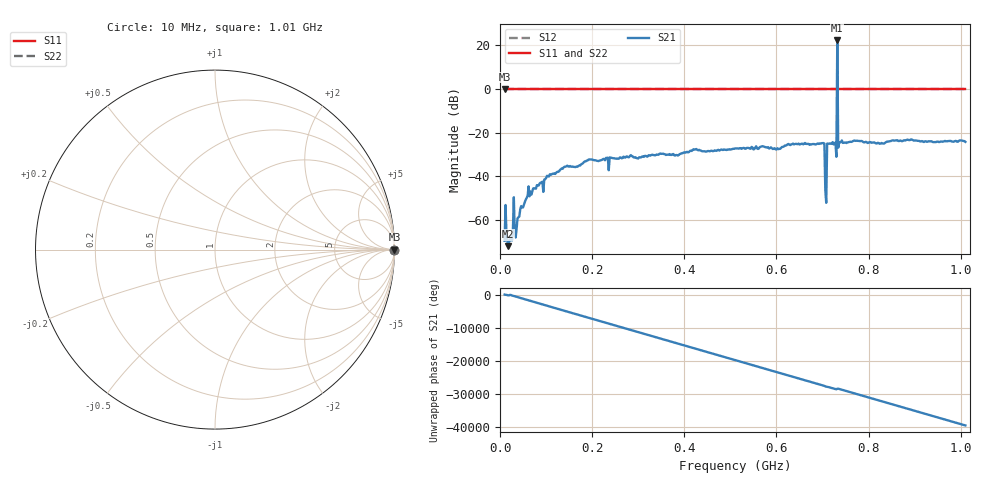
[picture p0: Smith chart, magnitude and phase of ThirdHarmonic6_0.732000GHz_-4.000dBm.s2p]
! 8/16/2025 12:28:51 AM
! C:\ANRITSUVNA\TEMP\TEMP.S2P
! CHANNEL.1
! TR.MEASUREMENT
! RAW.DATA
! RF.CORRECTION.OFF
! AVERAGING.OFF
! IF.BANDWIDTH: 5KHZ
! SWEEPTYPE:  FREQ.SWEEP(Linear)
! Reference Plane Port Info
! PORT:  PORT1  PORT2
! DISTANCE:  0  m  0  m
! TIME:  0  s  0  s
! PHASE.OFFSET:  0  deg.  0  deg.
! LOSS:  0  dB  0  dB
! REF.LOSS:  0  dB  0  dB
! REF.FREQ:  0  Hz  0  Hz
! Power Info
! POWER:  -20  dBm  -20  dBm
! EFF.POWER:  -20  dBm  -20  dBm
! SOURCE.ATTEN:  0  dB  0  dB
! TEST.ATTEN:  0  dB  0  dB
# GHZ S RI R 50.0
! FREQ.GHZ  S11RE  S11IM  S21RE  S21IM  S12RE  S12IM  S22RE  S22IM
!; PortSelection: Port_12
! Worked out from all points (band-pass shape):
!   501 points, 10 MHz to 1.01 GHz, reference 50 ohm
!   highest |S21| = 22.28 dB at 732 MHz (marker M1); lowest = -72.1 dB at 18 MHz (marker M2)
!   |S21| within 3 dB of the highest: 731.8877 MHz to 732.122 MHz (234.3 kHz wide, 0.032 % of centre)
!   lowest |S11| = 0.0 dB at 10 MHz (marker M3)
!   |S11| at or under -10 dB: nowhere
!   |S22| runs from 0.0 to 0.0 dB; largest |S21 - S12| = 14
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0.01  1 0  -0.000314 9.77e-05  1 0  1 0
0.018  1 0  3.25e-05 -0.000245  1 0  1 0
0.036  1 0  -0.000519 -0.000327  1 0  1 0
0.042  1 0  0.000629 -0.00102  1 0  1 0
0.062  1 0  -0.00518 -0.00267  1 0  1 0
0.106  1 0  -0.00693 -0.0069  1 0  1 0
0.178  1 0  -0.0187 -0.00383  1 0  1 0
0.344  1 0  0.0301 -0.00749  1 0  1 0
0.51  1 0  -0.0401 0.0159  1 0  1 0
0.678  1 0  -0.0251 -0.0483  1 0  1 0
0.7  1 0  0.0145 0.0554  1 0  1 0
0.704  1 0  0.00602 -0.0555  1 0  1 0
0.708  1 0  0.00137 0.00202  1 0  1 0
0.71  1 0  0.0467 0.0307  1 0  1 0
0.714  1 0  -0.0345 -0.0432  1 0  1 0
0.726  1 0  -0.0215 0.0515  1 0  1 0
0.728  1 0  0.0508 0.0308  1 0  1 0
0.732  1 0  -7.936 10.3  1 0  1 0
0.736  1 0  0.0243 0.0544  1 0  1 0
0.738  1 0  0.0579 -0.0147  1 0  1 0
0.844  1 0  0.0462 0.0422  1 0  1 0
1.01  1 0  -0.0599 -0.0127  1 0  1 0
